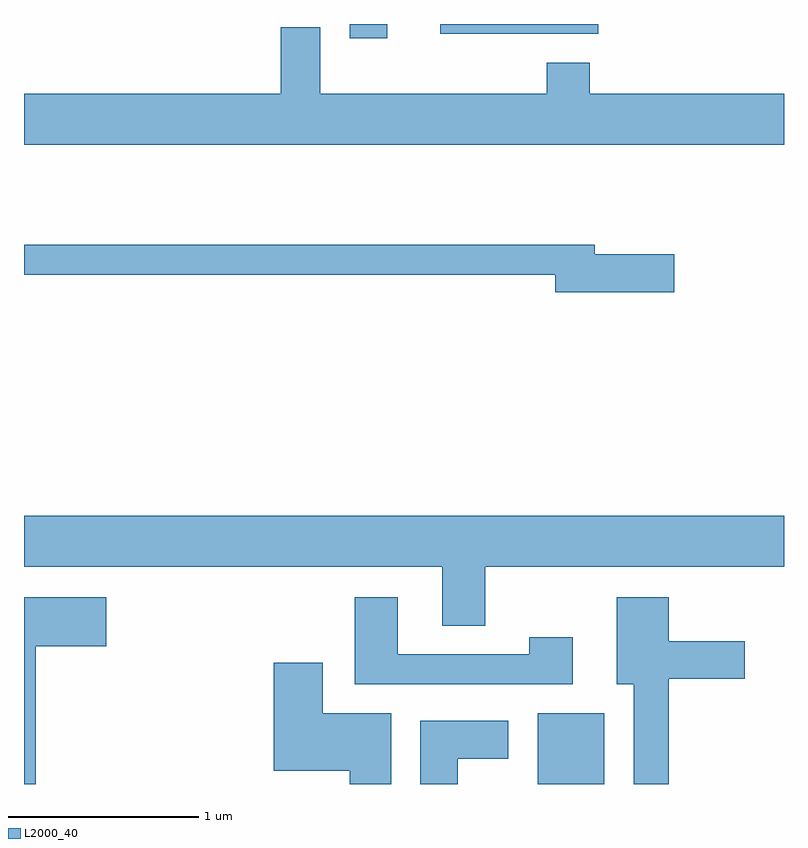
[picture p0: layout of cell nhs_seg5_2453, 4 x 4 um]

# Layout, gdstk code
import gdstk
lib = gdstk.Library(unit=1e-6, precision=1e-09)
def R(c, l, rs):  # rectangles x0, y0, x1, y1
    for r in rs: c.add(gdstk.rectangle(r[:2], r[2:], *l))
def P(c, l, *ps):  # polygons
    for p in ps: c.add(gdstk.Polygon(p, *l))
L2000_40 = (2000, 40)

nhs_seg5_2453 = lib.new_cell('nhs_seg5_2453')
R(nhs_seg5_2453, L2000_40, [(260.316,1480.072,260.664,1480.444), (259.326,1483.996,259.524,1484.072), (259.803,1484.021,260.634,1484.072)])
P(nhs_seg5_2453, L2000_40, [(261.611,1483.704),(260.589,1483.704),(260.589,1483.869),(260.361,1483.869),(260.361,1483.704),(259.169,1483.704),(259.169,1484.054),(258.961,1484.054),(258.961,1483.704),(257.611,1483.704),(257.611,1483.436),(261.611,1483.436)],
  [(261.034,1482.859),(260.614,1482.859),(260.614,1482.909),(257.611,1482.909),(257.611,1482.751),(260.406,1482.751),(260.406,1482.661),(261.034,1482.661)],
  [(260.039,1481.216),(261.611,1481.216),(261.611,1481.484),(257.611,1481.484),(257.611,1481.216),(259.811,1481.216),(259.811,1480.906),(260.039,1480.906)],
  [(257.674,1480.796),(258.044,1480.796),(258.044,1481.054),(257.611,1481.054),(257.611,1480.072),(257.674,1480.072)],
  [(261.004,1480.626),(261.404,1480.626),(261.404,1480.824),(261.004,1480.824),(261.004,1481.054),(260.731,1481.054),(260.731,1480.596),(260.821,1480.596),(260.821,1480.072),(261.004,1480.072)],
  [(260.499,1480.844),(260.271,1480.844),(260.271,1480.754),(259.579,1480.754),(259.579,1481.054),(259.351,1481.054),(259.351,1480.596),(260.499,1480.596)],
  [(259.544,1480.444),(259.184,1480.444),(259.184,1480.709),(258.926,1480.709),(258.926,1480.141),(259.326,1480.141),(259.326,1480.072),(259.544,1480.072)],
  [(259.894,1480.206),(260.159,1480.206),(260.159,1480.404),(259.696,1480.404),(259.696,1480.072),(259.894,1480.072)])

lib.write_gds('nhs_seg5_2453.gds')
